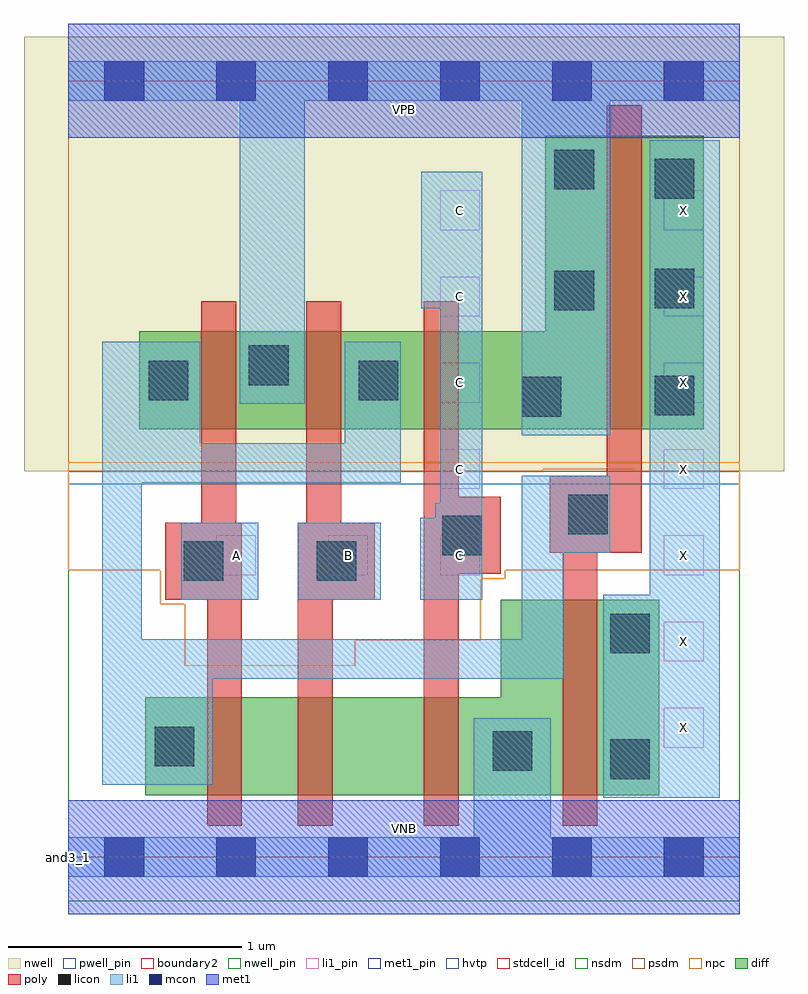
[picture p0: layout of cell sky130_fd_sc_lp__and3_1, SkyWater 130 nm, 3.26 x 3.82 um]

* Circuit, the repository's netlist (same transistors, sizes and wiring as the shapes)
* Copyright 2020 The SkyWater PDK Authors
*
* Licensed under the Apache License, Version 2.0 (the "License");
* you may not use this file except in compliance with the License.
* You may obtain a copy of the License at
*
*     https://www.apache.org/licenses/LICENSE-2.0
*
* Unless required by applicable law or agreed to in writing, software
* distributed under the License is distributed on an "AS IS" BASIS,
* WITHOUT WARRANTIES OR CONDITIONS OF ANY KIND, either express or implied.
* See the License for the specific language governing permissions and
* limitations under the License.
*
* SPDX-License-Identifier: Apache-2.0

.SUBCKT sky130_fd_sc_lp__and3_1 A B C VGND VNB VPB VPWR X
*.PININFO A:I B:I C:I VGND:I VNB:I VPB:I VPWR:I X:O
MMP0 y A VPWR VPB sky130_fd_pr__pfet_01v8_hvt m=1 w=0.42U l=0.15U mult=1 sa=0.265
+ sb=0.265 sd=0.28 area=0.063 perim=1.14
MMP1 y B VPWR VPB sky130_fd_pr__pfet_01v8_hvt m=1 w=0.42U l=0.15U mult=1 sa=0.265
+ sb=0.265 sd=0.28 area=0.063 perim=1.14
MMP2 y C VPWR VPB sky130_fd_pr__pfet_01v8_hvt m=1 w=0.42U l=0.15U mult=1 sa=0.265
+ sb=0.265 sd=0.28 area=0.063 perim=1.14
MMIP0 X y VPWR VPB sky130_fd_pr__pfet_01v8_hvt m=1 w=1.26U l=0.15U mult=1 sa=0.265
+ sb=0.265 sd=0.28 area=0.063 perim=1.14
MMN0 y A sndA VNB sky130_fd_pr__nfet_01v8 m=1 w=0.42U l=0.15U mult=1 sa=0.265 sb=0.265
+ sd=0.28 area=0.063 perim=1.14
MMN1 sndA B sndB VNB sky130_fd_pr__nfet_01v8 m=1 w=0.42U l=0.15U mult=1 sa=0.265
+ sb=0.265 sd=0.28 area=0.063 perim=1.14
MMN2 sndB C VGND VNB sky130_fd_pr__nfet_01v8 m=1 w=0.42U l=0.15U mult=1 sa=0.265
+ sb=0.265 sd=0.28 area=0.063 perim=1.14
MMIN0 X y VGND VNB sky130_fd_pr__nfet_01v8 m=1 w=0.84U l=0.15U mult=1 sa=0.265
+ sb=0.265 sd=0.28 area=0.063 perim=1.14
.ENDS sky130_fd_sc_lp__and3_1

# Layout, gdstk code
import gdstk
lib = gdstk.Library(unit=1e-6, precision=1e-09)
def R(c, l, rs):  # rectangles x0, y0, x1, y1
    for r in rs: c.add(gdstk.rectangle(r[:2], r[2:], *l))
def A(c, l, x, y, w, h, nx, ny, dx, dy):  # array of equal rectangles
    R(c, l, [(x+i*dx, y+j*dy, x+i*dx+w, y+j*dy+h) for i in range(nx) for j in range(ny)])
def P(c, l, *ps):  # polygons
    for p in ps: c.add(gdstk.Polygon(p, *l))
nwell_pin = (64, 16)
nwell = (64, 20)
diff = (65, 20)
poly = (66, 20)
licon = (66, 44)
li1_pin = (67, 16)
li1 = (67, 20)
mcon = (67, 44)
met1_pin = (68, 16)
met1 = (68, 20)
hvtp = (78, 44)
stdcell_id = (81, 4)
nsdm = (93, 44)
psdm = (94, 20)
npc = (95, 20)
pwell_pin = (122, 16)
boundary2 = (236, 0)

sky130_fd_sc_lp__and3_1 = lib.new_cell('sky130_fd_sc_lp__and3_1')
R(sky130_fd_sc_lp__and3_1, nwell_pin, [(0,3.085,2.88,3.33)])
R(sky130_fd_sc_lp__and3_1, nwell, [(-0.19,1.655,3.07,3.52)])
P(sky130_fd_sc_lp__and3_1, diff, [(2.535,1.105),(1.855,1.105),(1.855,0.685),(0.33,0.685),(0.33,0.265),(2.535,0.265)],
  [(2.725,3.095),(2.045,3.095),(2.045,2.255),(0.305,2.255),(0.305,1.835),(2.725,1.835)])
P(sky130_fd_sc_lp__and3_1, poly, [(0.745,1.435),(0.72,1.435),(0.72,2.385),(0.57,2.385),(0.57,1.435),(0.415,1.435),(0.415,1.105),(0.595,1.105),(0.595,0.135),(0.745,0.135)],
  [(1.315,1.435),(1.17,1.435),(1.17,2.385),(1.02,2.385),(1.02,1.435),(0.985,1.435),(0.985,0.135),(1.135,0.135),(1.135,1.105),(1.315,1.105)],
  [(1.855,1.545),(1.675,1.545),(1.675,2.385),(1.525,2.385),(1.525,0.135),(1.675,0.135),(1.675,1.215),(1.855,1.215)],
  [(2.46,3.225),(2.31,3.225),(2.31,1.635),(2.065,1.635),(2.065,1.305),(2.12,1.305),(2.12,0.135),(2.27,0.135),(2.27,1.305),(2.46,1.305)])
R(sky130_fd_sc_lp__and3_1, licon, [(2.325,0.335,2.495,0.505), (1.82,0.37,1.99,0.54), (0.37,0.39,0.54,0.56), (2.325,0.875,2.495,1.045), (0.495,1.185,0.665,1.355), (1.065,1.185,1.235,1.355), (1.605,1.295,1.775,1.465), (2.145,1.385,2.315,1.555), (1.945,1.89,2.115,2.06), (2.515,1.895,2.685,2.065), (0.345,1.96,0.515,2.13), (1.245,1.96,1.415,2.13), (0.775,2.025,0.945,2.195), (2.085,2.345,2.255,2.515), (2.515,2.355,2.685,2.525), (2.515,2.825,2.685,2.995), (2.085,2.865,2.255,3.035)])
A(sky130_fd_sc_lp__and3_1, li1_pin, 2.555, 0.47, 0.17, 0.17, 1, 7, 0, 0.37)
A(sky130_fd_sc_lp__and3_1, li1_pin, 0.635, 1.21, 0.17, 0.17, 3, 1, 0.48, 0)
A(sky130_fd_sc_lp__and3_1, li1_pin, 1.595, 1.58, 0.17, 0.17, 1, 4, 0, 0.37)
R(sky130_fd_sc_lp__and3_1, li1, [(0.485,1.105,0.815,1.435), (0.985,1.105,1.34,1.435)])
P(sky130_fd_sc_lp__and3_1, li1, [(0.735,1.945),(0.735,3.245),(0,3.245),(0,3.415),(2.88,3.415),(2.88,3.245),(2.325,3.245),(2.325,1.81),(1.945,1.81),(1.945,3.245),(1.015,3.245),(1.015,1.945)],
  [(1.74,0.085),(1.74,0.595),(2.07,0.595),(2.07,0.085),(2.88,0.085),(2.88,-0.085),(0,-0.085),(0,0.085)],
  [(0.145,2.21),(0.565,2.21),(0.565,1.775),(1.185,1.775),(1.185,2.21),(1.425,2.21),(1.425,1.605),(0.315,1.605),(0.315,0.935),(1.945,0.935),(1.945,1.635),(2.325,1.635),(2.325,1.305),(2.125,1.305),(2.125,0.765),(0.62,0.765),(0.62,0.31),(0.145,0.31)],
  [(2.295,0.255),(2.295,1.125),(2.495,1.125),(2.495,3.075),(2.795,3.075),(2.795,0.255)],
  [(1.775,2.94),(1.515,2.94),(1.515,2.355),(1.595,2.355),(1.595,1.52),(1.575,1.52),(1.575,1.455),(1.51,1.455),(1.51,1.105),(1.775,1.105)])
A(sky130_fd_sc_lp__and3_1, mcon, 0.155, -0.085, 0.17, 0.17, 6, 2, 0.48, 3.33)
R(sky130_fd_sc_lp__and3_1, met1_pin, [(0,0,2.88,0.245), (0,3.085,2.88,3.33)])
R(sky130_fd_sc_lp__and3_1, met1, [(0,-0.245,2.88,0.245), (0,3.085,2.88,3.575)])
R(sky130_fd_sc_lp__and3_1, hvtp, [(0,1.6,2.88,3.33)])
R(sky130_fd_sc_lp__and3_1, stdcell_id, [(0,0,2.88,3.33)])
R(sky130_fd_sc_lp__and3_1, nsdm, [(0,-0.19,2.88,1.655)])
P(sky130_fd_sc_lp__and3_1, psdm, [(2.88,3.52),(0,3.52),(0,1.655),(2.035,1.655),(2.035,1.665),(2.425,1.665),(2.425,1.655),(2.88,1.655)])
P(sky130_fd_sc_lp__and3_1, npc, [(2.88,1.695),(0,1.695),(0,1.23),(0.395,1.23),(0.395,1.085),(0.5,1.085),(0.5,0.82),(1.23,0.82),(1.23,0.93),(1.77,0.93),(1.77,1.195),(1.875,1.195),(1.875,1.23),(2.88,1.23)])
R(sky130_fd_sc_lp__and3_1, pwell_pin, [(0,0,2.88,0.245)])
R(sky130_fd_sc_lp__and3_1, boundary2, [(0,0,2.88,3.33)])
sky130_fd_sc_lp__and3_1.add(gdstk.Label('VNB', (1.44,0.123), layer=64, texttype=59))
sky130_fd_sc_lp__and3_1.add(gdstk.Label('VPB', (1.44,3.208), layer=64, texttype=5))
sky130_fd_sc_lp__and3_1.add(gdstk.Label('and3_1', (0,0), layer=83, texttype=44))
sky130_fd_sc_lp__and3_1.add(gdstk.Label('VPWR', (1.44,3.208), layer=68, texttype=5))
sky130_fd_sc_lp__and3_1.add(gdstk.Label('VGND', (1.44,0.123), layer=68, texttype=5))
sky130_fd_sc_lp__and3_1.add(gdstk.Label('A', (0.72,1.295), layer=67, texttype=5))
sky130_fd_sc_lp__and3_1.add(gdstk.Label('B', (1.2,1.295), layer=67, texttype=5))
sky130_fd_sc_lp__and3_1.add(gdstk.Label('X', (2.64,0.555), layer=67, texttype=5))
sky130_fd_sc_lp__and3_1.add(gdstk.Label('X', (2.64,0.925), layer=67, texttype=5))
sky130_fd_sc_lp__and3_1.add(gdstk.Label('X', (2.64,1.295), layer=67, texttype=5))
sky130_fd_sc_lp__and3_1.add(gdstk.Label('X', (2.64,1.665), layer=67, texttype=5))
sky130_fd_sc_lp__and3_1.add(gdstk.Label('X', (2.64,2.035), layer=67, texttype=5))
sky130_fd_sc_lp__and3_1.add(gdstk.Label('X', (2.64,2.405), layer=67, texttype=5))
sky130_fd_sc_lp__and3_1.add(gdstk.Label('X', (2.64,2.775), layer=67, texttype=5))
sky130_fd_sc_lp__and3_1.add(gdstk.Label('C', (1.68,1.295), layer=67, texttype=5))
sky130_fd_sc_lp__and3_1.add(gdstk.Label('C', (1.68,1.665), layer=67, texttype=5))
sky130_fd_sc_lp__and3_1.add(gdstk.Label('C', (1.68,2.035), layer=67, texttype=5))
sky130_fd_sc_lp__and3_1.add(gdstk.Label('C', (1.68,2.405), layer=67, texttype=5))
sky130_fd_sc_lp__and3_1.add(gdstk.Label('C', (1.68,2.775), layer=67, texttype=5))

lib.write_gds('sky130_fd_sc_lp__and3_1.gds')
